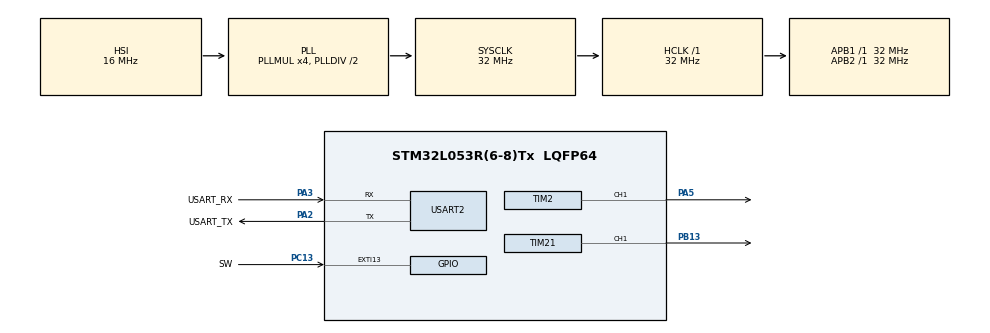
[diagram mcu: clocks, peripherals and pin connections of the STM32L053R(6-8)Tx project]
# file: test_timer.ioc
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Dma.Request0=USART2_RX
Dma.USART2_RX.0.Direction=DMA_PERIPH_TO_MEMORY
Dma.USART2_RX.0.Instance=DMA1_Channel6
Dma.USART2_RX.0.MemDataAlignment=DMA_MDATAALIGN_BYTE
Dma.USART2_RX.0.MemInc=DMA_MINC_ENABLE
Dma.USART2_RX.0.Mode=DMA_CIRCULAR
Dma.USART2_RX.0.PeriphDataAlignment=DMA_PDATAALIGN_BYTE
Dma.USART2_RX.0.PeriphInc=DMA_PINC_DISABLE
Dma.USART2_RX.0.Priority=DMA_PRIORITY_LOW
Mcu.Family=STM32L0
Mcu.Name=STM32L053R(6-8)Tx
Mcu.Package=LQFP64
NVIC.DMA1_Channel4_5_6_7_IRQn=true\:0\:0\:false\:false\:true\:false\:true
NVIC.TIM21_IRQn=true\:0\:0\:false\:false\:true\:true\:true
NVIC.TIM2_IRQn=true\:0\:0\:false\:false\:true\:true\:true
PA13.GPIO_Label=TMS
PA13.Mode=Serial_Wire
PA13.Signal=SYS_SWDIO
PA14.GPIO_Label=TCK
PA14.Mode=Serial_Wire
PA14.Signal=SYS_SWCLK
PA2.GPIO_Label=USART_TX
PA2.Mode=Asynchronous
PA2.Signal=USART2_TX
PA3.GPIO_Label=USART_RX
PA3.Mode=Asynchronous
PA3.Signal=USART2_RX
PA5.Signal=S_TIM2_CH1
PB13.GPIO_PuPd=GPIO_NOPULL
PB13.Signal=S_TIM21_CH1
PC13.GPIO_Label=SW
PC13.GPIO_ModeDefaultEXTI=GPIO_MODE_IT_FALLING
PC13.Signal=GPXTI13
PC14-OSC32_IN.Mode=LSE-External-Oscillator
PC14-OSC32_IN.Signal=RCC_OSC32_IN
PC15-OSC32_OUT.Mode=LSE-External-Oscillator
PC15-OSC32_OUT.Signal=RCC_OSC32_OUT
PH0-OSC_IN.Mode=HSE-External-Clock-Source
PH0-OSC_IN.Signal=RCC_OSC_IN
PH1-OSC_OUT.Signal=RCC_OSC_OUT
ProjectManager.HeapSize=0x200
ProjectManager.StackSize=0x400
ProjectManager.TargetToolchain=STM32CubeIDE
RCC.AHBFreq_Value=32000000
RCC.APB1Freq_Value=32000000
RCC.APB1TimFreq_Value=32000000
RCC.APB2Freq_Value=32000000
RCC.APB2TimFreq_Value=32000000
RCC.HCLKFreq_Value=32000000
RCC.HSE_VALUE=8000000
RCC.HSI16_VALUE=16000000
RCC.HSI48_VALUE=48000000
RCC.HSI_VALUE=16000000
RCC.MSIClockRange=RCC_MSIRANGE_6
RCC.MSI_VALUE=4194000
RCC.PLLMUL=RCC_PLLMUL_4
RCC.SYSCLKFreq_VALUE=32000000
RCC.SYSCLKSource=RCC_SYSCLKSOURCE_PLLCLK
RCC.VCOOutputFreq_Value=64000000
SH.S_TIM21_CH1.0=TIM21_CH1,PWM Generation1 CH1
SH.S_TIM2_CH1.0=TIM2_CH1,PWM Generation1 CH1
TIM2.AutoReloadPreload=TIM_AUTORELOAD_PRELOAD_ENABLE
TIM2.Channel-PWM\ Generation1\ CH1=TIM_CHANNEL_1
TIM2.Period=1000-1
TIM2.Prescaler=32000-1
TIM2.Pulse-PWM\ Generation1\ CH1=100
TIM21.AutoReloadPreload=TIM_AUTORELOAD_PRELOAD_ENABLE
TIM21.Channel-PWM\ Generation1\ CH1=TIM_CHANNEL_1
TIM21.CounterMode=TIM_COUNTERMODE_UP
TIM21.OC1Preload_PWM=DISABLE
TIM21.Period=1000-1
TIM21.Prescaler=32000-1
TIM21.Pulse-PWM\ Generation1\ CH1=300
USART2.Parity=PARITY_NONE
USART2.VirtualMode-Asynchronous=VM_ASYNC
VP_TIM21_VS_ClockSourceINT.Mode=Internal
VP_TIM2_VS_ClockSourceINT.Mode=Internal
board=NUCLEO-L053R8

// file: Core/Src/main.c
/* USER CODE BEGIN Header */
/**
 ******************************************************************************
 * @file           : main.c
 * @brief          : Main program body
 ******************************************************************************
 * @attention
 *
 * <h2><center>&copy; Copyright (c) 2020 STMicroelectronics.
 * All rights reserved.</center></h2>
 *
 * This software component is licensed by ST under BSD 3-Clause license,
 * the "License"; You may not use this file except in compliance with the
 * License. You may obtain a copy of the License at:
 *                        opensource.org/licenses/BSD-3-Clause
 *
 ******************************************************************************
 */
/* USER CODE END Header */
#include "main.h"

/* USER CODE BEGIN Includes */
//#include "LED.h"
#include <string.h>
#include "UART.h"
#include <stdbool.h>

/* USER CODE END Includes */

/* USER CODE BEGIN PD */

#define SW_ON 0
#define SW_OFF 1

/* USER CODE END PD */

TIM_HandleTypeDef htim2;
TIM_HandleTypeDef htim21;

UART_HandleTypeDef huart2;
DMA_HandleTypeDef hdma_usart2_rx;

/* USER CODE BEGIN PV */

// update UART Flg
bool UpdateUARTFlg = false;

/* USER CODE END PV */

void SystemClock_Config(void);
static void MX_GPIO_Init(void);
static void MX_DMA_Init(void);
static void MX_USART2_UART_Init(void);
static void MX_TIM2_Init(void);
static void MX_TIM21_Init(void);

int main(void) {
	/* USER CODE BEGIN 1 */
	int i = 0;

	uint8_t buffer[256] = "";
	uint8_t str_initmeseg[] = "Start My Program\r\n\r\n";
	uint8_t str_test[] = "test";
	bool SWState = SW_OFF;
	bool SWStateOld = SW_OFF;

	bool flg = false;

	/* USER CODE END 1 */

	/* MCU Configuration--------------------------------------------------------*/

	/* Reset of all peripherals, Initializes the Flash interface and the Systick. */
	HAL_Init();

	/* Configure the system clock */
	SystemClock_Config();

	/* Initialize all configured peripherals */
	MX_GPIO_Init();
	MX_DMA_Init();
	MX_USART2_UART_Init();
	MX_TIM2_Init();
	MX_TIM21_Init();
	/* USER CODE BEGIN 2 */

	HAL_UART_Transmit(&huart2, str_initmeseg, strlen(str_initmeseg), 0xffff);

	// UART_Reciev_DMA init
	msgrx_init(&huart2);

	/* USER CODE END 2 */

	/* Infinite loop */
	while (1) {

		/* USER CODE BEGIN 3 */

		// スイッチをリード
		SWState = HAL_GPIO_ReadPin(SW_GPIO_Port, SW_Pin);
		// スイッチを押した時だけ
		if (SWStateOld == SW_OFF && SWState == SW_ON) {

			if (flg == false) {			// 1回目のみ実行

				printUART("Start Timer : ", 0);

				// タイマ スタート
//				HAL_TIM_Base_Start_IT(&htim2);
//				HAL_TIM_OC_Start_IT(&htim2, TIM_CHANNEL_1);
//				HAL_TIM_PWM_Start_IT(&htim21, TIM_CHANNEL_1);
				HAL_TIM_PWM_Start_IT(&htim2, TIM_CHANNEL_1);

				flg = true;

			} else {								// 2回目以降実行

				printUART("Stop Timer : ", 0);

				// タイマ ストップ
//				HAL_TIM_Base_Stop_IT(&htim2);
//				HAL_TIM_OC_Stop_IT(&htim2, TIM_CHANNEL_1);
//				HAL_TIM_PWM_Stop_IT(&htim21, TIM_CHANNEL_1);
				HAL_TIM_PWM_Stop_IT(&htim2, TIM_CHANNEL_1);

				flg = false;
			}

		}
		SWStateOld = SWState;

		// UART 更新間隔 調整用
		if (UpdateUARTFlg == true) {
			printUART("UpdeteUARTflg", (uint16_t) flg);

			HAL_UART_Transmit(&huart2, buffer, strlen(buffer), 0xffff);

			UpdateUARTFlg = false;
		}

	}
	/* USER CODE END 3 */
}

void SystemClock_Config(void) {
	RCC_OscInitTypeDef RCC_OscInitStruct = { 0 };
	RCC_ClkInitTypeDef RCC_ClkInitStruct = { 0 };
	RCC_PeriphCLKInitTypeDef PeriphClkInit = { 0 };

	/** Configure the main internal regulator output voltage
	 */
	__HAL_PWR_VOLTAGESCALING_CONFIG(PWR_REGULATOR_VOLTAGE_SCALE1);
	/** Initializes the RCC Oscillators according to the specified parameters
	 * in the RCC_OscInitTypeDef structure.
	 */
	RCC_OscInitStruct.OscillatorType = RCC_OSCILLATORTYPE_HSI;
	RCC_OscInitStruct.HSIState = RCC_HSI_ON;
	RCC_OscInitStruct.HSICalibrationValue = RCC_HSICALIBRATION_DEFAULT;
	RCC_OscInitStruct.PLL.PLLState = RCC_PLL_ON;
	RCC_OscInitStruct.PLL.PLLSource = RCC_PLLSOURCE_HSI;
	RCC_OscInitStruct.PLL.PLLMUL = RCC_PLLMUL_4;
	RCC_OscInitStruct.PLL.PLLDIV = RCC_PLLDIV_2;
	if (HAL_RCC_OscConfig(&RCC_OscInitStruct) != HAL_OK) {
		Error_Handler();
	}
	/** Initializes the CPU, AHB and APB buses clocks
	 */
	RCC_ClkInitStruct.ClockType = RCC_CLOCKTYPE_HCLK | RCC_CLOCKTYPE_SYSCLK
			| RCC_CLOCKTYPE_PCLK1 | RCC_CLOCKTYPE_PCLK2;
	RCC_ClkInitStruct.SYSCLKSource = RCC_SYSCLKSOURCE_PLLCLK;
	RCC_ClkInitStruct.AHBCLKDivider = RCC_SYSCLK_DIV1;
	RCC_ClkInitStruct.APB1CLKDivider = RCC_HCLK_DIV1;
	RCC_ClkInitStruct.APB2CLKDivider = RCC_HCLK_DIV1;

	if (HAL_RCC_ClockConfig(&RCC_ClkInitStruct, FLASH_LATENCY_1) != HAL_OK) {
		Error_Handler();
	}
	PeriphClkInit.PeriphClockSelection = RCC_PERIPHCLK_USART2;
	PeriphClkInit.Usart2ClockSelection = RCC_USART2CLKSOURCE_PCLK1;
	if (HAL_RCCEx_PeriphCLKConfig(&PeriphClkInit) != HAL_OK) {
		Error_Handler();
	}
}

static void MX_TIM2_Init(void) {

	TIM_ClockConfigTypeDef sClockSourceConfig = { 0 };
	TIM_MasterConfigTypeDef sMasterConfig = { 0 };
	TIM_OC_InitTypeDef sConfigOC = { 0 };

	htim2.Instance = TIM2;
	htim2.Init.Prescaler = 32000 - 1;
	htim2.Init.CounterMode = TIM_COUNTERMODE_UP;
	htim2.Init.Period = 1000 - 1;
	htim2.Init.ClockDivision = TIM_CLOCKDIVISION_DIV1;
	htim2.Init.AutoReloadPreload = TIM_AUTORELOAD_PRELOAD_ENABLE;
	if (HAL_TIM_Base_Init(&htim2) != HAL_OK) {
		Error_Handler();
	}
	sClockSourceConfig.ClockSource = TIM_CLOCKSOURCE_INTERNAL;
	if (HAL_TIM_ConfigClockSource(&htim2, &sClockSourceConfig) != HAL_OK) {
		Error_Handler();
	}
	if (HAL_TIM_PWM_Init(&htim2) != HAL_OK) {
		Error_Handler();
	}
	sMasterConfig.MasterOutputTrigger = TIM_TRGO_RESET;
	sMasterConfig.MasterSlaveMode = TIM_MASTERSLAVEMODE_DISABLE;
	if (HAL_TIMEx_MasterConfigSynchronization(&htim2, &sMasterConfig)
			!= HAL_OK) {
		Error_Handler();
	}
	sConfigOC.OCMode = TIM_OCMODE_PWM1;
	sConfigOC.Pulse = 100;
	sConfigOC.OCPolarity = TIM_OCPOLARITY_HIGH;
	sConfigOC.OCFastMode = TIM_OCFAST_DISABLE;
	if (HAL_TIM_PWM_ConfigChannel(&htim2, &sConfigOC, TIM_CHANNEL_1)
			!= HAL_OK) {
		Error_Handler();
	}
	HAL_TIM_MspPostInit(&htim2);

}

static void MX_TIM21_Init(void) {

	TIM_ClockConfigTypeDef sClockSourceConfig = { 0 };
	TIM_MasterConfigTypeDef sMasterConfig = { 0 };
	TIM_OC_InitTypeDef sConfigOC = { 0 };

	htim21.Instance = TIM21;
	htim21.Init.Prescaler = 32000 - 1;
	htim21.Init.CounterMode = TIM_COUNTERMODE_UP;
	htim21.Init.Period = 1000 - 1;
	htim21.Init.ClockDivision = TIM_CLOCKDIVISION_DIV1;
	htim21.Init.AutoReloadPreload = TIM_AUTORELOAD_PRELOAD_ENABLE;
	if (HAL_TIM_Base_Init(&htim21) != HAL_OK) {
		Error_Handler();
	}
	sClockSourceConfig.ClockSource = TIM_CLOCKSOURCE_INTERNAL;
	if (HAL_TIM_ConfigClockSource(&htim21, &sClockSourceConfig) != HAL_OK) {
		Error_Handler();
	}
	if (HAL_TIM_PWM_Init(&htim21) != HAL_OK) {
		Error_Handler();
	}
	sMasterConfig.MasterOutputTrigger = TIM_TRGO_RESET;
	sMasterConfig.MasterSlaveMode = TIM_MASTERSLAVEMODE_DISABLE;
	if (HAL_TIMEx_MasterConfigSynchronization(&htim21, &sMasterConfig)
			!= HAL_OK) {
		Error_Handler();
	}
	sConfigOC.OCMode = TIM_OCMODE_PWM1;
	sConfigOC.Pulse = 300;
	sConfigOC.OCPolarity = TIM_OCPOLARITY_HIGH;
	sConfigOC.OCFastMode = TIM_OCFAST_DISABLE;
	if (HAL_TIM_PWM_ConfigChannel(&htim21, &sConfigOC, TIM_CHANNEL_1)
			!= HAL_OK) {
		Error_Handler();
	}
	__HAL_TIM_DISABLE_OCxPRELOAD(&htim21, TIM_CHANNEL_1);
	HAL_TIM_MspPostInit(&htim21);

}

static void MX_USART2_UART_Init(void) {

	huart2.Instance = USART2;
	huart2.Init.BaudRate = 115200;
	huart2.Init.WordLength = UART_WORDLENGTH_8B;
	huart2.Init.StopBits = UART_STOPBITS_1;
	huart2.Init.Parity = UART_PARITY_NONE;
	huart2.Init.Mode = UART_MODE_TX_RX;
	huart2.Init.HwFlowCtl = UART_HWCONTROL_NONE;
	huart2.Init.OverSampling = UART_OVERSAMPLING_16;
	huart2.Init.OneBitSampling = UART_ONE_BIT_SAMPLE_DISABLE;
	huart2.AdvancedInit.AdvFeatureInit = UART_ADVFEATURE_NO_INIT;
	if (HAL_UART_Init(&huart2) != HAL_OK) {
		Error_Handler();
	}

}

static void MX_DMA_Init(void) {

	/* DMA controller clock enable */
	__HAL_RCC_DMA1_CLK_ENABLE();

	/* DMA interrupt init */
	/* DMA1_Channel4_5_6_7_IRQn interrupt configuration */
	HAL_NVIC_SetPriority(DMA1_Channel4_5_6_7_IRQn, 0, 0);
	HAL_NVIC_EnableIRQ(DMA1_Channel4_5_6_7_IRQn);

}

static void MX_GPIO_Init(void) {
	GPIO_InitTypeDef GPIO_InitStruct = { 0 };

	/* GPIO Ports Clock Enable */
	__HAL_RCC_GPIOC_CLK_ENABLE();
	__HAL_RCC_GPIOH_CLK_ENABLE();
	__HAL_RCC_GPIOA_CLK_ENABLE();
	__HAL_RCC_GPIOB_CLK_ENABLE();

	/*Configure GPIO pin : SW_Pin */
	GPIO_InitStruct.Pin = SW_Pin;
	GPIO_InitStruct.Mode = GPIO_MODE_IT_FALLING;
	GPIO_InitStruct.Pull = GPIO_NOPULL;
	HAL_GPIO_Init(SW_GPIO_Port, &GPIO_InitStruct);

}

/* USER CODE BEGIN 4 */

// タイマオーバーフロー 割込み コールバック
void HAL_TIM_PeriodElapsedCallback(TIM_HandleTypeDef *htim) {
	if (htim == &htim2) {
//		HAL_GPIO_WritePin(LD2_GPIO_Port, LD2_Pin, GPIO_PIN_SET);
		printUART("Time int", (uint16_t) htim2.Instance->CNT);
		// UART の更新フラグをON
		UpdateUARTFlg = true;
	}

}

// 比較一致 割込み コールバック
void HAL_TIM_OC_DelayElapsedCallback(TIM_HandleTypeDef *htim) {
	if (htim == &htim2) {
//		HAL_GPIO_WritePin(LD2_GPIO_Port, LD2_Pin, GPIO_PIN_RESET);
		printUART("Time OC int", (uint16_t) htim2.Instance->CNT);
	}

}

// PWM 割込み コールバック
void HAL_TIM_PWM_PulseFinishedCallback(TIM_HandleTypeDef *htim) {

	// timer2
	if (htim == &htim2) {
		printUART("PWM timer2 :", (uint16_t) htim->Instance->CNT);
	} else if (htim == &htim21) {
//		HAL_GPIO_TogglePin(TMS_GPIO_Port, TMS_Pin);
		printUART("PWM", (uint16_t) htim->Instance->CNT);
	}
}

/* USER CODE END 4 */

void Error_Handler(void) {
}

/************************ (C) COPYRIGHT STMicroelectronics *****END OF FILE****/
